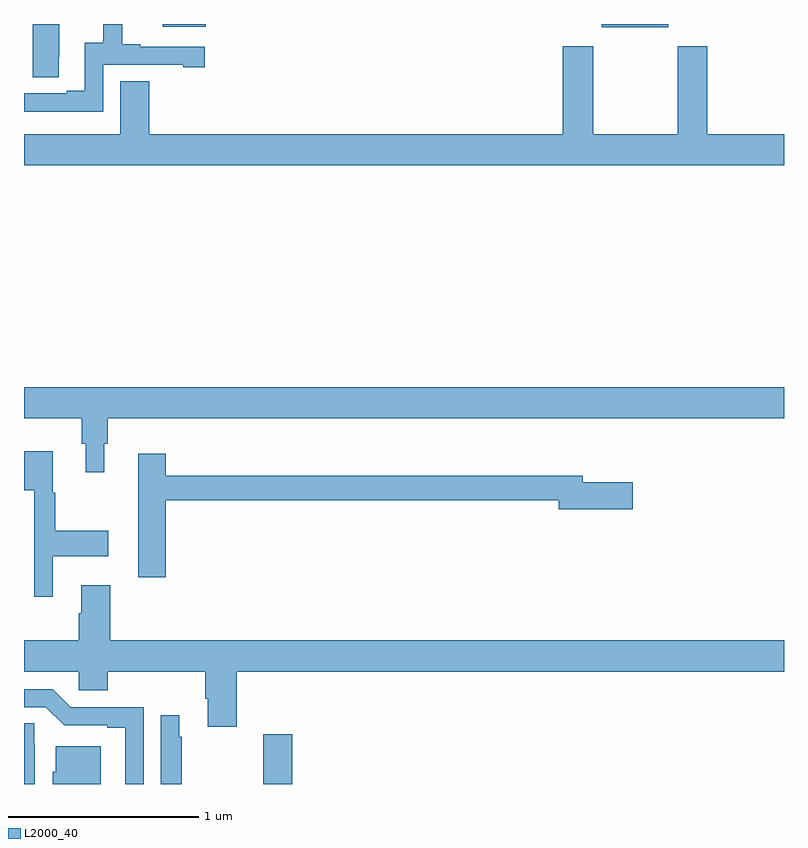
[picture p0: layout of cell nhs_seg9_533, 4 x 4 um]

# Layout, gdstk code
import gdstk
lib = gdstk.Library(unit=1e-6, precision=1e-09)
def R(c, l, rs):  # rectangles x0, y0, x1, y1
    for r in rs: c.add(gdstk.rectangle(r[:2], r[2:], *l))
def P(c, l, *ps):  # polygons
    for p in ps: c.add(gdstk.Polygon(p, *l))
L2000_40 = (2000, 40)

nhs_seg9_533 = lib.new_cell('nhs_seg9_533')
R(nhs_seg9_533, L2000_40, [(140.042,1194.482,140.392,1194.5), (137.729,1194.485,137.956,1194.5)])
P(nhs_seg9_533, L2000_40, [(137.184,1194.328),(137.185,1194.328),(137.185,1194.5),(137.045,1194.5),(137.045,1194.22),(137.184,1194.22)],
  [(137.418,1194.285),(137.837,1194.285),(137.837,1194.273),(137.95,1194.273),(137.95,1194.381),(137.611,1194.381),(137.611,1194.394),(137.516,1194.394),(137.516,1194.5),(137.416,1194.5),(137.416,1194.401),(137.321,1194.401),(137.321,1194.15),(137.225,1194.15),(137.225,1194.135),(137,1194.135),(137,1194.039),(137.418,1194.039)],
  [(141,1193.92),(140.595,1193.92),(140.595,1194.382),(140.44,1194.382),(140.44,1193.92),(139.995,1193.92),(139.995,1194.382),(139.835,1194.382),(139.835,1193.92),(137.66,1193.92),(137.66,1194.2),(137.507,1194.2),(137.507,1193.92),(137,1193.92),(137,1193.756),(141,1193.756)],
  [(137.422,1192.29),(137.441,1192.29),(137.441,1192.424),(141,1192.424),(141,1192.588),(137,1192.588),(137,1192.424),(137.305,1192.424),(137.305,1192.29),(137.324,1192.29),(137.324,1192.14),(137.422,1192.14)],
  [(137.152,1191.698),(137.443,1191.698),(137.443,1191.833),(137.164,1191.833),(137.164,1192.032),(137.152,1192.032),(137.152,1192.252),(137,1192.252),(137,1192.046),(137.055,1192.046),(137.055,1191.486),(137.152,1191.486)],
  [(137.747,1191.994),(139.814,1191.994),(139.814,1191.947),(140.203,1191.947),(140.203,1192.089),(139.942,1192.089),(139.942,1192.123),(137.747,1192.123),(137.747,1192.237),(137.6,1192.237),(137.6,1191.588),(137.747,1191.588)],
  [(138.119,1191.092),(141,1191.092),(141,1191.256),(137.453,1191.256),(137.453,1191.547),(137.3,1191.547),(137.3,1191.398),(137.288,1191.398),(137.288,1191.256),(137,1191.256),(137,1191.092),(137.289,1191.092),(137.289,1190.994),(137.441,1190.994),(137.441,1191.092),(137.954,1191.092),(137.954,1190.95),(137.966,1190.95),(137.966,1190.802),(138.119,1190.802)],
  [(137.631,1190.904),(137.247,1190.904),(137.151,1191),(137,1191),(137,1190.904),(137.115,1190.904),(137.211,1190.808),(137.438,1190.808),(137.438,1190.796),(137.534,1190.796),(137.534,1190.5),(137.631,1190.5)],
  [(137.83,1190.75),(137.818,1190.75),(137.818,1190.863),(137.721,1190.863),(137.721,1190.5),(137.83,1190.5)],
  [(137.056,1190.708),(137.055,1190.708),(137.055,1190.819),(137,1190.819),(137,1190.5),(137.056,1190.5)],
  [(138.413,1190.761),(138.259,1190.761),(138.259,1190.566),(138.26,1190.566),(138.26,1190.5),(138.413,1190.5)],
  [(137.404,1190.698),(137.168,1190.698),(137.168,1190.565),(137.15,1190.565),(137.15,1190.5),(137.404,1190.5)])

lib.write_gds('nhs_seg9_533.gds')
